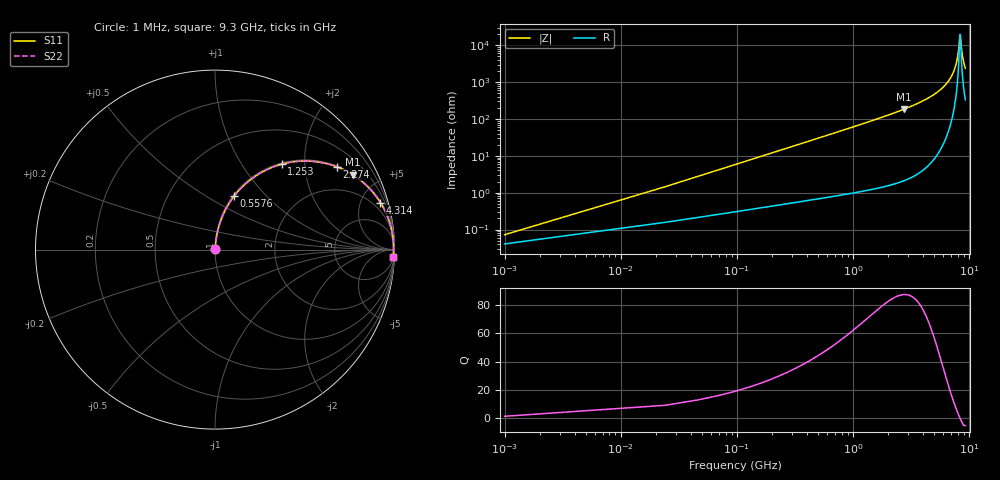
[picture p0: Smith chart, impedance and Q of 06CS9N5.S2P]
! Coilcraft 0603CS-9N5 Chip Inductor
! 21 May 2002
# MHZ S MA R 50
!Freq  MagS11  AngS11  MagS21  AngS21  MagS12  AngS12  MagS22  AngS22
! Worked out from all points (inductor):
!   402 points, 1 MHz to 9.3 GHz, reference 50 ohm
!   read as one part in series: L = 9.5 nH near 47.38 MHz
!   highest Q = 87.3 at 2.737 GHz (marker M1), where L = 10.6 nH
!   self-resonance near 8.373 GHz
!   S11 on the Smith chart (normalised r, x): 1 MHz: 1.00, +0.00; 557.6 MHz: 1.01, +0.67; 1.253 GHz: 1.02, +1.53; 2.274 GHz: 1.03, +2.93; 4.314 GHz: 1.10, +7.01; 9.3 GHz: 8, -47
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1  0.0007216 55.7  0.9996 -0.0  0.9996 -0.0  0.0007216 55.7
70.57  0.04206 84.1  0.9965 -2.4  0.9965 -2.4  0.04206 84.1
116.95  0.0695 83.3  0.9943 -4.0  0.9943 -4.0  0.0695 83.3
186.52  0.1103 81.5  0.9898 -6.3  0.9898 -6.3  0.1103 81.5
279.28  0.1639 78.8  0.9815 -9.4  0.9815 -9.4  0.1639 78.8
557.56  0.3151 70.4  0.9423 -18.4  0.9423 -18.4  0.3151 70.4
859.03  0.4569 61.8  0.8816 -27.2  0.8816 -27.2  0.4569 61.8
1253.26  0.6035 52.0  0.7886 -37.1  0.7886 -37.1  0.6035 52.0
1554.73  0.6884 45.7  0.7162 -43.5  0.7162 -43.5  0.6884 45.7
2273.62  0.8215 34.1  0.5607 -55.2  0.5607 -55.2  0.8215 34.1
2737.42  0.8733 28.5  0.4774 -60.8  0.4774 -60.8  0.8733 28.5
3108.46  0.9029 24.8  0.4196 -64.5  0.4196 -64.5  0.9029 24.8
4314.34  0.9581 15.9  0.2734 -73.3  0.2734 -73.3  0.9581 15.9
4662.19  0.9671 13.9  0.2399 -75.2  0.2399 -75.2  0.9671 13.9
6215.92  0.9889 6.9  0.1199 -81.3  0.1199 -81.3  0.9889 6.9
7143.52  0.9937 3.6  0.06374 -82.5  0.06374 -82.5  0.9937 3.6
7769.65  0.9949 1.7  0.03037 -79.5  0.03037 -79.5  0.9949 1.7
8047.93  0.9951 0.9  0.01671 -72.3  0.01671 -72.3  0.9951 0.9
8372.59  0.9949 0.0  0.00506 -3.0  0.00506 -3.0  0.9949 0.0
8418.97  0.9949 -0.1  0.005444 20.7  0.005444 20.7  0.9949 -0.1
8790.01  0.9944 -1.1  0.01983 73.2  0.01983 73.2  0.9944 -1.1
9300  0.9933 -2.4  0.04193 79.6  0.04193 79.6  0.9933 -2.4
